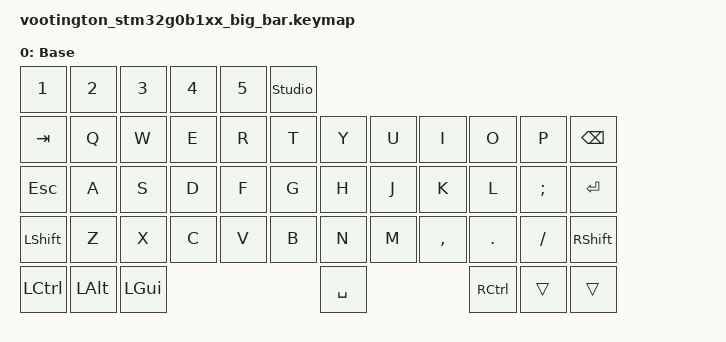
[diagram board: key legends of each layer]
/*
 * Copyright (c) 2020 The ZMK Contributors
 *
 * SPDX-License-Identifier: MIT
 */

#include <behaviors.dtsi>
#include <dt-bindings/zmk/bt.h>
#include <dt-bindings/zmk/keys.h>
#include <dt-bindings/zmk/rgb.h>

#define BASE_L	0
#define FUN_L	1

/ {
    keymap {
        compatible = "zmk,keymap";

        base_layer {
            display-name = "Base";
            bindings = <
          &kp N1     &kp N2     &kp N3      &kp N4      &kp N5      &studio_unlock
       &kp TAB    &kp Q      &kp W      &kp E       &kp R          &kp T         &kp Y     &kp U          &kp I       &kp O      &kp P    &kp BKSP
       &kp ESC    &kp A      &kp S      &kp D       &kp F          &kp G         &kp H     &kp J          &kp K       &kp L      &kp SEMI &kp RET
       &kp LSHIFT &kp Z      &kp X      &kp C       &kp V          &kp B         &kp N     &kp M          &kp COMMA   &kp DOT    &kp FSLH &kp RSHIFT
       &kp LCTL   &kp LALT   &kp LGUI                                         &kp SPC                                 &kp RCTL   &trans   &trans
            >;
        };

	res1 { status = "reserved"; };
	res2 { status = "reserved"; };
	res3 { status = "reserved"; };
	res4 { status = "reserved"; };
    };
};
